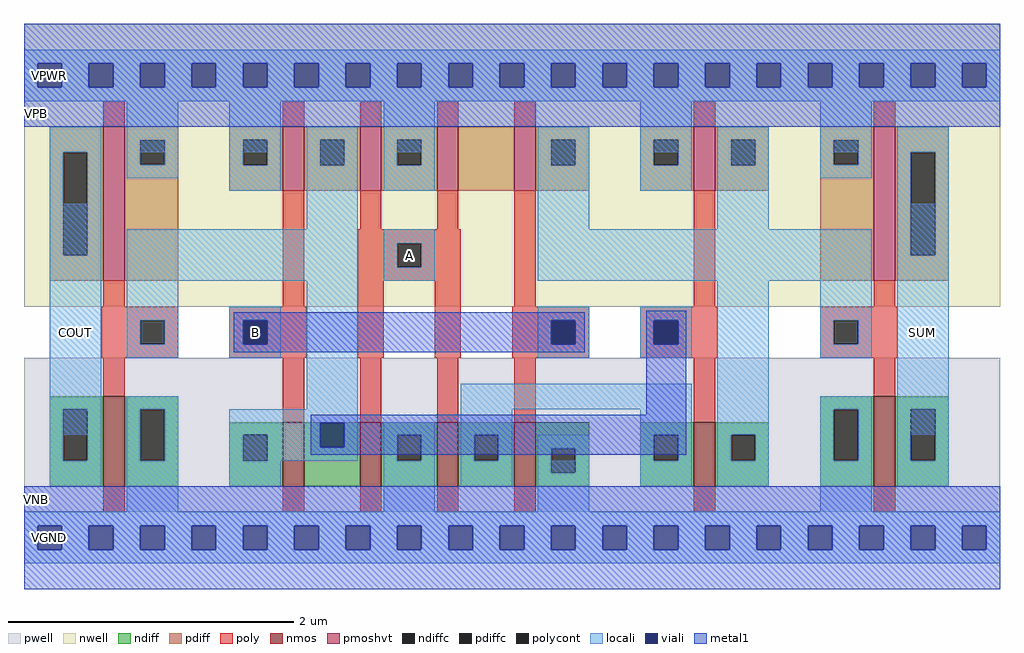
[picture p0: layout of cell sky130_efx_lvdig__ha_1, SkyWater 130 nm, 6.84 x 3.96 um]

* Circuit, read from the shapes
.subckt sky130_efx_lvdig__ha_1 A B COUT SUM VGND VPWR VPB VNB
XM1 VGND n1 COUT VNB sky130_fd_pr__nfet_01v8 w=0.63 l=0.15
XM2 n2 B n1 VNB sky130_fd_pr__nfet_01v8 w=0.45 l=0.15
XM3 VGND A n2 VNB sky130_fd_pr__nfet_01v8 w=0.45 l=0.15
XM4 n3 A VGND VNB sky130_fd_pr__nfet_01v8 w=0.45 l=0.15
XM5 VGND B n3 VNB sky130_fd_pr__nfet_01v8 w=0.45 l=0.15
XM6 n4 n1 n3 VNB sky130_fd_pr__nfet_01v8 w=0.45 l=0.15
XM7 SUM n4 VGND VNB sky130_fd_pr__nfet_01v8 w=0.63 l=0.15
XM8 VPWR n1 COUT VPB sky130_fd_pr__pfet_01v8_hvt w=1.08 l=0.15
XM9 n1 B VPWR VPB sky130_fd_pr__pfet_01v8_hvt w=0.45 l=0.15
XM10 VPWR A n1 VPB sky130_fd_pr__pfet_01v8_hvt w=0.45 l=0.15
XM11 n5 A VPWR VPB sky130_fd_pr__pfet_01v8_hvt w=0.45 l=0.15
XM12 n4 B n5 VPB sky130_fd_pr__pfet_01v8_hvt w=0.45 l=0.15
XM13 n4 n1 VPWR VPB sky130_fd_pr__pfet_01v8_hvt w=0.45 l=0.15
XM14 SUM n4 VPWR VPB sky130_fd_pr__pfet_01v8_hvt w=1.08 l=0.15
.ends

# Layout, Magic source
magic
tech sky130A
magscale 1 2
<< nwell >>
rect 0 288 1368 684
<< pwell >>
rect 0 0 1368 216
<< poly >>
rect 468 377 612 396
rect 468 343 523 377
rect 557 343 612 377
rect 468 324 612 343
rect 108 269 216 288
rect 108 235 163 269
rect 197 235 216 269
rect 108 216 216 235
rect 288 269 396 288
rect 288 235 307 269
rect 341 235 396 269
rect 288 216 396 235
rect 468 216 504 324
rect 576 216 612 324
rect 684 269 792 288
rect 684 235 739 269
rect 773 235 792 269
rect 684 216 792 235
rect 864 269 972 288
rect 864 235 883 269
rect 917 235 972 269
rect 864 216 972 235
rect 1116 269 1224 288
rect 1116 235 1135 269
rect 1169 235 1224 269
rect 1116 216 1224 235
<< polycont >>
rect 523 343 557 377
rect 163 235 197 269
rect 307 235 341 269
rect 739 235 773 269
rect 883 235 917 269
rect 1135 235 1169 269
<< locali >>
rect 0 629 1368 648
rect 0 595 19 629
rect 53 595 91 629
rect 125 595 163 629
rect 197 595 235 629
rect 269 595 307 629
rect 341 595 379 629
rect 413 595 451 629
rect 485 595 523 629
rect 557 595 595 629
rect 629 595 667 629
rect 701 595 739 629
rect 773 595 811 629
rect 845 595 883 629
rect 917 595 955 629
rect 989 595 1027 629
rect 1061 595 1099 629
rect 1133 595 1171 629
rect 1205 595 1243 629
rect 1277 595 1315 629
rect 1349 595 1368 629
rect 0 576 1368 595
rect 144 504 216 576
rect 288 504 360 576
rect 36 108 108 432
rect 396 396 468 540
rect 504 504 576 576
rect 720 396 792 540
rect 864 504 936 576
rect 972 396 1044 540
rect 1116 504 1188 576
rect 144 324 468 396
rect 504 377 576 396
rect 504 343 523 377
rect 557 343 576 377
rect 504 324 576 343
rect 720 324 1188 396
rect 144 269 216 324
rect 144 235 163 269
rect 197 235 216 269
rect 144 216 216 235
rect 288 269 360 288
rect 288 235 307 269
rect 341 235 360 269
rect 288 216 360 235
rect 396 144 468 324
rect 720 269 792 288
rect 720 235 739 269
rect 773 235 792 269
rect 720 216 792 235
rect 864 269 936 288
rect 864 235 883 269
rect 917 235 936 269
rect 864 216 936 235
rect 288 125 468 144
rect 288 91 415 125
rect 449 91 468 125
rect 612 144 936 180
rect 612 108 684 144
rect 864 108 936 144
rect 972 108 1044 324
rect 1116 269 1188 324
rect 1116 235 1135 269
rect 1169 235 1188 269
rect 1116 216 1188 235
rect 1224 108 1296 432
rect 288 72 468 91
rect 144 0 216 72
rect 504 0 576 72
rect 720 0 792 72
rect 1116 0 1188 72
rect 0 -19 1368 0
rect 0 -53 19 -19
rect 53 -53 91 -19
rect 125 -53 163 -19
rect 197 -53 235 -19
rect 269 -53 307 -19
rect 341 -53 379 -19
rect 413 -53 451 -19
rect 485 -53 523 -19
rect 557 -53 595 -19
rect 629 -53 667 -19
rect 701 -53 739 -19
rect 773 -53 811 -19
rect 845 -53 883 -19
rect 917 -53 955 -19
rect 989 -53 1027 -19
rect 1061 -53 1099 -19
rect 1133 -53 1171 -19
rect 1205 -53 1243 -19
rect 1277 -53 1315 -19
rect 1349 -53 1368 -19
rect 0 -72 1368 -53
<< viali >>
rect 19 595 53 629
rect 91 595 125 629
rect 163 595 197 629
rect 235 595 269 629
rect 307 595 341 629
rect 379 595 413 629
rect 451 595 485 629
rect 523 595 557 629
rect 595 595 629 629
rect 667 595 701 629
rect 739 595 773 629
rect 811 595 845 629
rect 883 595 917 629
rect 955 595 989 629
rect 1027 595 1061 629
rect 1099 595 1133 629
rect 1171 595 1205 629
rect 1243 595 1277 629
rect 1315 595 1349 629
rect 307 235 341 269
rect 739 235 773 269
rect 883 235 917 269
rect 415 91 449 125
rect 19 -53 53 -19
rect 91 -53 125 -19
rect 163 -53 197 -19
rect 235 -53 269 -19
rect 307 -53 341 -19
rect 379 -53 413 -19
rect 451 -53 485 -19
rect 523 -53 557 -19
rect 595 -53 629 -19
rect 667 -53 701 -19
rect 739 -53 773 -19
rect 811 -53 845 -19
rect 883 -53 917 -19
rect 955 -53 989 -19
rect 1027 -53 1061 -19
rect 1099 -53 1133 -19
rect 1171 -53 1205 -19
rect 1243 -53 1277 -19
rect 1315 -53 1349 -19
<< metal1 >>
rect 0 629 1368 684
rect 0 595 19 629
rect 53 595 91 629
rect 125 595 163 629
rect 197 595 235 629
rect 269 595 307 629
rect 341 595 379 629
rect 413 595 451 629
rect 485 595 523 629
rect 557 595 595 629
rect 629 595 667 629
rect 701 595 739 629
rect 773 595 811 629
rect 845 595 883 629
rect 917 595 955 629
rect 989 595 1027 629
rect 1061 595 1099 629
rect 1133 595 1171 629
rect 1205 595 1243 629
rect 1277 595 1315 629
rect 1349 595 1368 629
rect 0 540 1368 595
rect 294 269 786 280
rect 294 235 307 269
rect 341 235 739 269
rect 773 235 786 269
rect 294 224 786 235
rect 872 269 928 282
rect 872 235 883 269
rect 917 235 928 269
rect 872 136 928 235
rect 402 125 928 136
rect 402 91 415 125
rect 449 91 928 125
rect 402 80 928 91
rect 0 -19 1368 36
rect 0 -53 19 -19
rect 53 -53 91 -19
rect 125 -53 163 -19
rect 197 -53 235 -19
rect 269 -53 307 -19
rect 341 -53 379 -19
rect 413 -53 451 -19
rect 485 -53 523 -19
rect 557 -53 595 -19
rect 629 -53 667 -19
rect 701 -53 739 -19
rect 773 -53 811 -19
rect 845 -53 883 -19
rect 917 -53 955 -19
rect 989 -53 1027 -19
rect 1061 -53 1099 -19
rect 1133 -53 1171 -19
rect 1205 -53 1243 -19
rect 1277 -53 1315 -19
rect 1349 -53 1368 -19
rect 0 -108 1368 -53
use nmos_n2f5_f1_l150_ff  nmos_n2f5_f1_l150_ff_0
transform 1 0 900 0 1 36
box -72 -36 180 180
use nmos_n2f5_f4_l150_fnffb  nmos_n2f5_f4_l150_fnffb_0
transform 1 0 324 0 1 36
box -72 -36 504 180
use nmos_n3f5_f1_l150  nmos_n3f5_f1_l150_0
transform 1 0 72 0 1 36
box -72 -36 180 180
use nmos_n3f5_f1_l150  nmos_n3f5_f1_l150_1
transform 1 0 1152 0 1 36
box -72 -36 180 180
use pmos_n2f5_f1_l150_hvt_ff  pmos_n2f5_f1_l150_hvt_ff_0
transform 1 0 900 0 1 450
box -72 -162 180 126
use pmos_n2f5_f4_l150_hvt_fffnf  pmos_n2f5_f4_l150_hvt_fffnf_0
transform 1 0 324 0 1 450
box -72 -162 504 126
use pmos_n6_f1_l150_hvt_ft  pmos_n6_f1_l150_hvt_ft_0
transform 1 0 72 0 1 324
box -72 -36 180 252
use pmos_n6_f1_l150_hvt_tf  pmos_n6_f1_l150_hvt_tf_0
transform 1 0 1152 0 1 324
box -72 -36 180 252
<< labels >>
flabel locali 36 216 108 288 0 FreeSans 288 0 0 0 COUT
port 3 nsew signal output
flabel locali 1224 216 1296 288 0 FreeSans 288 0 0 0 SUM
port 4 nsew signal output
flabel metal1 0 -72 72 0 0 FreeSans 288 0 0 0 VGND
port 5 nsew ground bidirectional
flabel metal1 0 576 72 648 0 FreeSans 288 0 0 0 VPWR
port 6 nsew power bidirectional
flabel nwell 0 540 36 576 0 FreeSans 288 0 0 0 VPB
port 7 nsew power bidirectional
flabel pwell 0 0 36 36 0 FreeSans 288 0 0 0 VNB
port 8 nsew ground bidirectional
flabel locali 504 324 576 396 0 FreeSans 288 0 0 0 A
port 1 nsew signal input
flabel locali s 288 216 360 288 0 FreeSans 288 0 0 0 B
port 2 nsew signal input
<< properties >>
string FIXED_BBOX 0 -36 1368 612
<< end >>

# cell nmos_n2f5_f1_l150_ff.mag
magic
tech sky130A
magscale 1 2
<< pwell >>
rect -72 -36 180 180
<< nmos >>
rect 39 0 69 90
<< ndiff >>
rect -36 72 39 90
rect -36 36 -17 72
rect 17 36 39 72
rect -36 0 39 36
rect 69 72 144 90
rect 69 36 91 72
rect 125 36 144 72
rect 69 0 144 36
<< ndiffc >>
rect -17 36 17 72
rect 91 36 125 72
<< poly >>
rect 39 90 69 180
rect 39 -36 69 0
<< locali >>
rect -36 72 36 90
rect -36 36 -17 72
rect 17 36 36 72
rect -36 0 36 36
rect 72 72 144 90
rect 72 36 91 72
rect 125 36 144 72
rect 72 0 144 36
<< end >>

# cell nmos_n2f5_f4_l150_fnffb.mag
magic
tech sky130A
magscale 1 2
<< pwell >>
rect -72 -36 504 180
<< nmos >>
rect 39 0 69 90
rect 147 0 177 90
rect 255 0 285 90
rect 363 0 393 90
<< ndiff >>
rect -36 72 39 90
rect -36 36 -17 72
rect 17 36 39 72
rect -36 0 39 36
rect 69 0 147 90
rect 177 72 255 90
rect 177 36 199 72
rect 233 36 255 72
rect 177 0 255 36
rect 285 72 363 90
rect 285 36 307 72
rect 341 36 363 72
rect 285 0 363 36
rect 393 53 468 90
rect 393 19 415 53
rect 449 19 468 53
rect 393 0 468 19
<< ndiffc >>
rect -17 36 17 72
rect 199 36 233 72
rect 307 36 341 72
rect 415 19 449 53
<< poly >>
rect 39 90 69 180
rect 147 90 177 180
rect 255 90 285 180
rect 363 90 393 180
rect 39 -36 69 0
rect 147 -36 177 0
rect 255 -36 285 0
rect 363 -36 393 0
<< locali >>
rect -36 72 36 90
rect -36 36 -17 72
rect 17 36 36 72
rect -36 0 36 36
rect 180 72 252 90
rect 180 36 199 72
rect 233 36 252 72
rect 180 0 252 36
rect 288 72 360 90
rect 288 36 307 72
rect 341 36 360 72
rect 288 0 360 36
rect 396 53 468 72
rect 396 19 415 53
rect 449 19 468 53
rect 396 0 468 19
<< end >>

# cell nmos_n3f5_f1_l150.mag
magic
tech sky130A
magscale 1 2
<< pwell >>
rect -72 -36 180 180
<< nmos >>
rect 39 0 69 126
<< ndiff >>
rect -36 108 39 126
rect -36 36 -17 108
rect 17 36 39 108
rect -36 0 39 36
rect 69 108 144 126
rect 69 36 91 108
rect 125 36 144 108
rect 69 0 144 36
<< ndiffc >>
rect -17 36 17 108
rect 91 36 125 108
<< poly >>
rect 39 126 69 180
rect 39 -36 69 0
<< locali >>
rect -36 108 36 126
rect -36 36 -17 108
rect 17 36 36 108
rect -36 0 36 36
rect 72 108 144 126
rect 72 36 91 108
rect 125 36 144 108
rect 72 0 144 36
<< labels >>
rlabel locali 0 18 0 18 0 S0
port 1 nsew
rlabel locali 108 18 108 18 0 D0
port 2 nsew
<< end >>

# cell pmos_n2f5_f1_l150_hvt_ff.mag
magic
tech sky130A
magscale 1 2
<< nwell >>
rect -72 -162 180 126
<< pmoshvt >>
rect 39 0 69 90
<< pdiff >>
rect -36 72 39 90
rect -36 36 -17 72
rect 17 36 39 72
rect -36 0 39 36
rect 69 72 144 90
rect 69 36 91 72
rect 125 36 144 72
rect 69 0 144 36
<< pdiffc >>
rect -17 36 17 72
rect 91 36 125 72
<< poly >>
rect 39 90 69 126
rect 39 -162 69 0
<< locali >>
rect -36 72 36 90
rect -36 36 -17 72
rect 17 36 36 72
rect -36 0 36 36
rect 72 72 144 90
rect 72 36 91 72
rect 125 36 144 72
rect 72 0 144 36
<< end >>

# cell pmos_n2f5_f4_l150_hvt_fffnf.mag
magic
tech sky130A
magscale 1 2
<< nwell >>
rect -72 -162 504 126
<< pmoshvt >>
rect 39 0 69 90
rect 147 0 177 90
rect 255 0 285 90
rect 363 0 393 90
<< pdiff >>
rect -36 72 39 90
rect -36 36 -17 72
rect 17 36 39 72
rect -36 0 39 36
rect 69 72 147 90
rect 69 36 91 72
rect 125 36 147 72
rect 69 0 147 36
rect 177 72 255 90
rect 177 36 199 72
rect 233 36 255 72
rect 177 0 255 36
rect 285 0 363 90
rect 393 72 468 90
rect 393 36 415 72
rect 449 36 468 72
rect 393 0 468 36
<< pdiffc >>
rect -17 36 17 72
rect 91 36 125 72
rect 199 36 233 72
rect 415 36 449 72
<< poly >>
rect 39 90 69 126
rect 147 90 177 126
rect 255 90 285 126
rect 363 90 393 126
rect 39 -162 69 0
rect 147 -162 177 0
rect 255 -162 285 0
rect 363 -162 393 0
<< locali >>
rect -36 72 36 90
rect -36 36 -17 72
rect 17 36 36 72
rect -36 0 36 36
rect 72 72 144 90
rect 72 36 91 72
rect 125 36 144 72
rect 72 0 144 36
rect 180 72 252 90
rect 180 36 199 72
rect 233 36 252 72
rect 180 0 252 36
rect 396 72 468 90
rect 396 36 415 72
rect 449 36 468 72
rect 396 0 468 36
<< end >>

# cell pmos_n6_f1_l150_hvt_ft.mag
magic
tech sky130A
magscale 1 2
<< nwell >>
rect -72 -36 180 252
<< pmoshvt >>
rect 39 0 69 216
<< pdiff >>
rect -36 180 39 216
rect -36 36 -17 180
rect 17 36 39 180
rect -36 0 39 36
rect 69 197 144 216
rect 69 163 91 197
rect 125 163 144 197
rect 69 0 144 163
<< pdiffc >>
rect -17 36 17 180
rect 91 163 125 197
<< poly >>
rect 39 216 69 252
rect 39 -36 69 0
<< locali >>
rect -36 180 36 216
rect -36 36 -17 180
rect 17 36 36 180
rect 72 197 144 216
rect 72 163 91 197
rect 125 163 144 197
rect 72 144 144 163
rect -36 0 36 36
<< end >>

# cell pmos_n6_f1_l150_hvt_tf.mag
magic
tech sky130A
magscale 1 2
<< nwell >>
rect -72 -36 180 252
<< pmoshvt >>
rect 39 0 69 216
<< pdiff >>
rect -36 197 39 216
rect -36 163 -17 197
rect 17 163 39 197
rect -36 0 39 163
rect 69 180 144 216
rect 69 36 91 180
rect 125 36 144 180
rect 69 0 144 36
<< pdiffc >>
rect -17 163 17 197
rect 91 36 125 180
<< poly >>
rect 39 216 69 252
rect 39 -36 69 0
<< locali >>
rect -36 197 36 216
rect -36 163 -17 197
rect 17 163 36 197
rect -36 144 36 163
rect 72 180 144 216
rect 72 36 91 180
rect 125 36 144 180
rect 72 0 144 36
<< end >>
